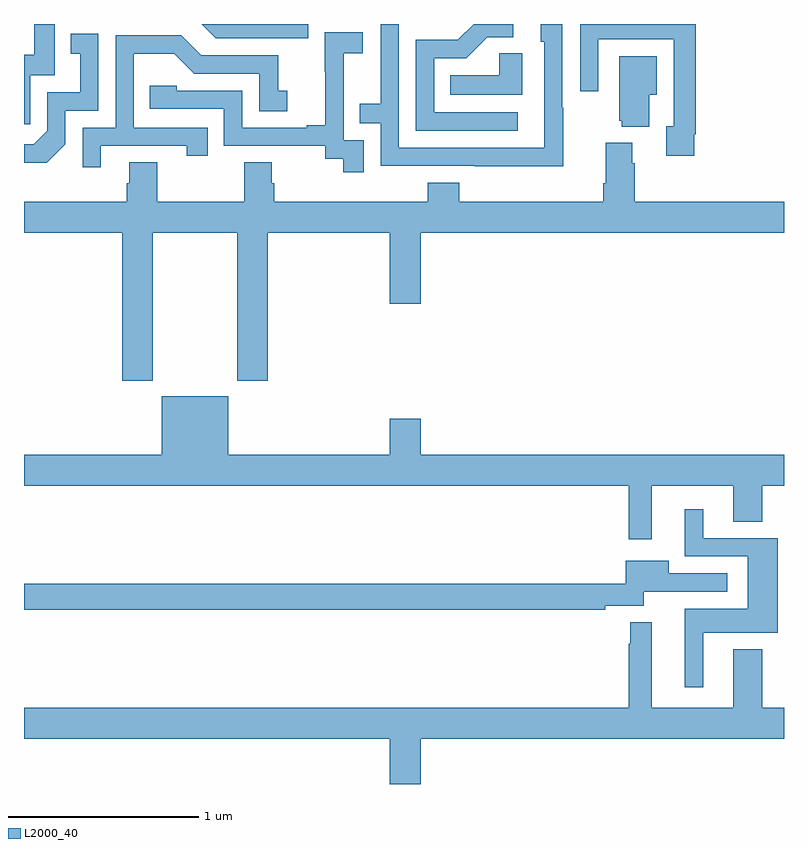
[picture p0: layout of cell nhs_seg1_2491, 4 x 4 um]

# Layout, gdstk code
import gdstk
lib = gdstk.Library(unit=1e-6, precision=1e-09)
def P(c, l, *ps):  # polygons
    for p in ps: c.add(gdstk.Polygon(p, *l))
L2000_40 = (2000, 40)

nhs_seg1_2491 = lib.new_cell('nhs_seg1_2491')
P(nhs_seg1_2491, L2000_40, [(249.598,517.734),(249.159,517.734),(249.159,518.019),(249.328,518.019),(249.439,518.13),(249.574,518.13),(249.574,518.199),(249.366,518.199),(249.282,518.115),(249.063,518.115),(249.063,517.638),(249.598,517.638)],
  [(249.837,517.757),(249.834,517.757),(249.834,518.199),(249.719,518.199),(249.719,518.106),(249.738,518.106),(249.738,517.548),(248.973,517.548),(248.973,518.199),(248.877,518.199),(248.877,517.778),(248.767,517.778),(248.767,517.677),(248.877,517.677),(248.877,517.452),(249.373,517.452),(249.373,517.451),(249.837,517.451)],
  [(248.496,518.199),(247.935,518.199),(248.01,518.124),(248.496,518.124)],
  [(247.032,517.929),(247.161,517.929),(247.161,518.199),(247.053,518.199),(247.053,518.038),(247,518.038),(247,517.671),(247.032,517.671)],
  [(250.528,517.618),(250.535,517.618),(250.535,518.199),(249.927,518.199),(249.927,517.845),(250.023,517.845),(250.023,518.118),(250.419,518.118),(250.419,517.662),(250.379,517.662),(250.379,517.506),(250.528,517.506)],
  [(248.787,517.587),(248.682,517.587),(248.682,517.817),(248.684,517.817),(248.684,518.045),(248.782,518.045),(248.782,518.155),(248.584,518.155),(248.584,517.949),(248.585,517.949),(248.585,517.666),(248.489,517.666),(248.489,517.653),(248.148,517.653),(248.148,517.848),(247.803,517.848),(247.803,517.875),(247.663,517.875),(247.663,517.752),(248.052,517.752),(248.052,517.557),(248.586,517.557),(248.586,517.489),(248.679,517.489),(248.679,517.419),(248.787,517.419)],
  [(247.218,517.566),(247.218,517.743),(247.392,517.743),(247.392,518.149),(247.246,518.149),(247.246,518.043),(247.295,518.043),(247.295,517.839),(247.122,517.839),(247.122,517.638),(247.05,517.566),(247,517.566),(247,517.469),(247.12,517.469)],
  [(247.405,517.557),(247.856,517.557),(247.856,517.506),(247.967,517.506),(247.967,517.653),(247.578,517.653),(247.578,518.042),(247.792,518.042),(247.896,517.938),(248.238,517.938),(248.238,517.74),(248.386,517.74),(248.386,517.849),(248.337,517.849),(248.337,518.034),(247.933,518.034),(247.828,518.139),(247.482,518.139),(247.482,517.653),(247.308,517.653),(247.308,517.446),(247.405,517.446)],
  [(249.622,518.045),(249.501,518.045),(249.501,517.93),(249.244,517.93),(249.244,517.826),(249.622,517.826)],
  [(250.291,517.826),(250.33,517.826),(250.33,518.029),(250.133,518.029),(250.133,517.689),(250.145,517.689),(250.145,517.658),(250.291,517.658)],
  [(247.677,517.1),(248.122,517.1),(248.122,516.321),(248.282,516.321),(248.282,517.1),(248.924,517.1),(248.924,516.726),(249.088,516.726),(249.088,517.1),(251,517.1),(251,517.264),(250.214,517.264),(250.214,517.466),(250.201,517.466),(250.201,517.573),(250.061,517.573),(250.061,517.36),(250.049,517.36),(250.049,517.264),(249.29,517.264),(249.29,517.363),(249.125,517.363),(249.125,517.264),(248.318,517.264),(248.318,517.362),(248.305,517.362),(248.305,517.472),(248.158,517.472),(248.158,517.264),(247.701,517.264),(247.701,517.472),(247.553,517.472),(247.553,517.362),(247.541,517.362),(247.541,517.264),(247,517.264),(247,517.1),(247.517,517.1),(247.517,516.321),(247.677,516.321)],
  [(250.303,515.768),(250.733,515.768),(250.733,515.578),(250.886,515.578),(250.886,515.768),(251,515.768),(251,515.932),(249.088,515.932),(249.088,516.121),(248.924,516.121),(248.924,515.932),(248.074,515.932),(248.074,516.241),(247.724,516.241),(247.724,515.932),(247,515.932),(247,515.768),(250.182,515.768),(250.182,515.487),(250.303,515.487)],
  [(250.576,514.994),(250.967,514.994),(250.967,515.493),(250.576,515.493),(250.576,515.644),(250.478,515.644),(250.478,515.397),(250.808,515.397),(250.808,515.122),(250.478,515.122),(250.478,514.707),(250.576,514.707)],
  [(250.06,515.136),(250.263,515.136),(250.263,515.211),(250.702,515.211),(250.702,515.307),(250.393,515.307),(250.393,515.374),(250.167,515.374),(250.167,515.252),(247,515.252),(247,515.116),(250.06,515.116)],
  [(249.088,514.436),(251,514.436),(251,514.6),(250.886,514.6),(250.886,514.909),(250.733,514.909),(250.733,514.6),(250.303,514.6),(250.303,515.05),(250.19,515.05),(250.19,514.937),(250.182,514.937),(250.182,514.6),(247,514.6),(247,514.436),(248.924,514.436),(248.924,514.199),(249.088,514.199)])

lib.write_gds('nhs_seg1_2491.gds')
